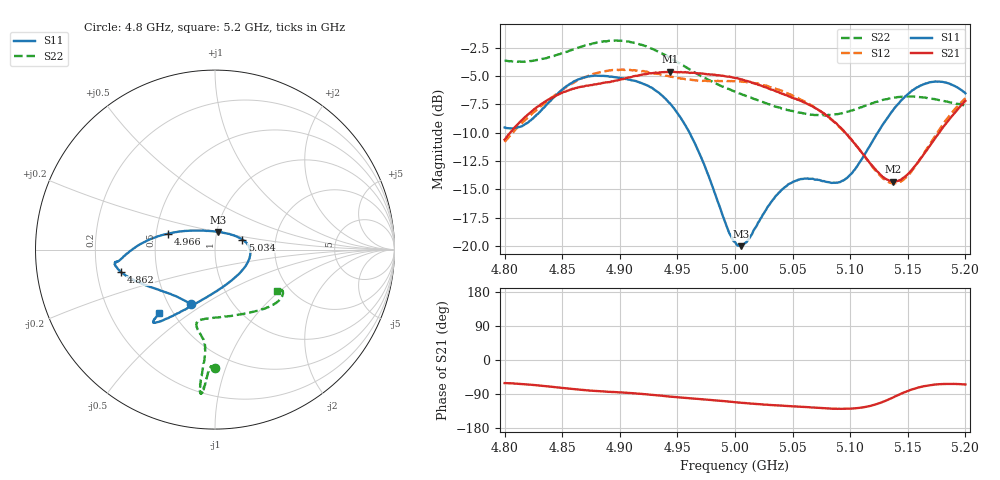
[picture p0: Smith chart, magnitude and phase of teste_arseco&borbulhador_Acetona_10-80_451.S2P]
! Network Analyzer HP8722D
! Hewlett-Packard
! Data name: Linha & Wilkinson
! Saver's name: Rodrigo Anjos
! Comments: Teste da utilização de aquisição
! continua pelo VNA HP8722D
! Time and date: 17/4/2025 18:07
!  Frequency  S11  S21  S12  S22
# HZ  S  MA R 50
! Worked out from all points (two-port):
!   401 points, 4.8 GHz to 5.2 GHz, reference 50 ohm
!   highest |S21| = -4.62 dB at 4.944 GHz (marker M1); lowest = -14.3 dB at 5.137 GHz (marker M2)
!   |S21| within 3 dB of the highest: 4.83 GHz to 5.066 GHz (235.6 MHz wide, 4.76 % of centre); 5.196014 GHz to end of sweep
!   lowest |S11| = -20.0 dB at 5.005 GHz (marker M3), VSWR 1.22, Z = 50.6 + j10.1 ohm
!   |S11| at or under -10 dB: 4.961 GHz to 5.124 GHz (163.4 MHz wide, 3.24 % of centre)
!   |S22| runs from -8.5 to -1.9 dB; largest |S21 - S12| = 0.88
!   S11 on the Smith chart (normalised r, x): 4.8 GHz: 0.64, -0.44; 4.862 GHz: 0.30, -0.11; 4.966 GHz: 0.58, +0.11; 5.034 GHz: 1.35, +0.15; 5.2 GHz: 0.42, -0.38
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4.8e9  0.3335 -113.7  0.2944 -60.9  0.288 -175.2  0.6581 -90.2
4.819e9  0.3478 -133.8  0.3749 -64.4  0.3639 -173.9  0.6531 -91.8
4.862e9  0.538 -166.4  0.4982 -77.2  0.5332 -177.2  0.7439 -94.1
4.867e9  0.5504 -168.4  0.5042 -78.9  0.5485 -178.2  0.7592 -94.3
4.899e9  0.5519 -172.9  0.5401 -85.4  0.5973 175.2  0.8041 -95.8
4.934e9  0.4739 -179.0  0.5816 -93.8  0.5747 171.6  0.7165 -96.1
4.944e9  0.423 176.4  0.5877 -96.6  0.5578 171.8  0.6752 -95.9
4.966e9  0.2773 161.4  0.5792 -102.2  0.5382 173.6  0.5791 -95.4
5e9  0.1042 98.0  0.5509 -111.4  0.5336 176.0  0.4804 -99.4
5.005e9  0.09993 80.9  0.5436 -112.8  0.5317 176.0  0.4687 -100.7
5.012e9  0.1074 59.0  0.5316 -114.5  0.5271 175.8  0.4552 -102.1
5.034e9  0.1624 20.1  0.4849 -119.5  0.4983 174.6  0.4143 -103.9
5.049e9  0.1899 4.9  0.4519 -121.8  0.4644 173.9  0.3949 -100.1
5.067e9  0.1982 -14.4  0.4139 -125.2  0.4159 173.4  0.3798 -90.6
5.086e9  0.1904 -44.7  0.3533 -128.6  0.3526 173.4  0.3804 -76.1
5.097e9  0.1993 -67.4  0.3107 -128.7  0.3109 174.6  0.3905 -67.1
5.134e9  0.3781 -117.2  0.1943 -103.1  0.1905 -156.1  0.4479 -43.0
5.137e9  0.3962 -119.0  0.1924 -99.2  0.1895 -151.3  0.451 -41.7
5.15e9  0.4671 -124.7  0.2073 -81.9  0.2045 -131.3  0.4566 -36.8
5.168e9  0.5255 -129.1  0.2724 -67.2  0.2757 -113.4  0.4478 -32.4
5.184e9  0.5242 -130.8  0.3522 -63.1  0.3634 -107.3  0.4338 -31.3
5.2e9  0.4717 -131.2  0.4367 -64.6  0.4487 -106.7  0.4164 -33.6
